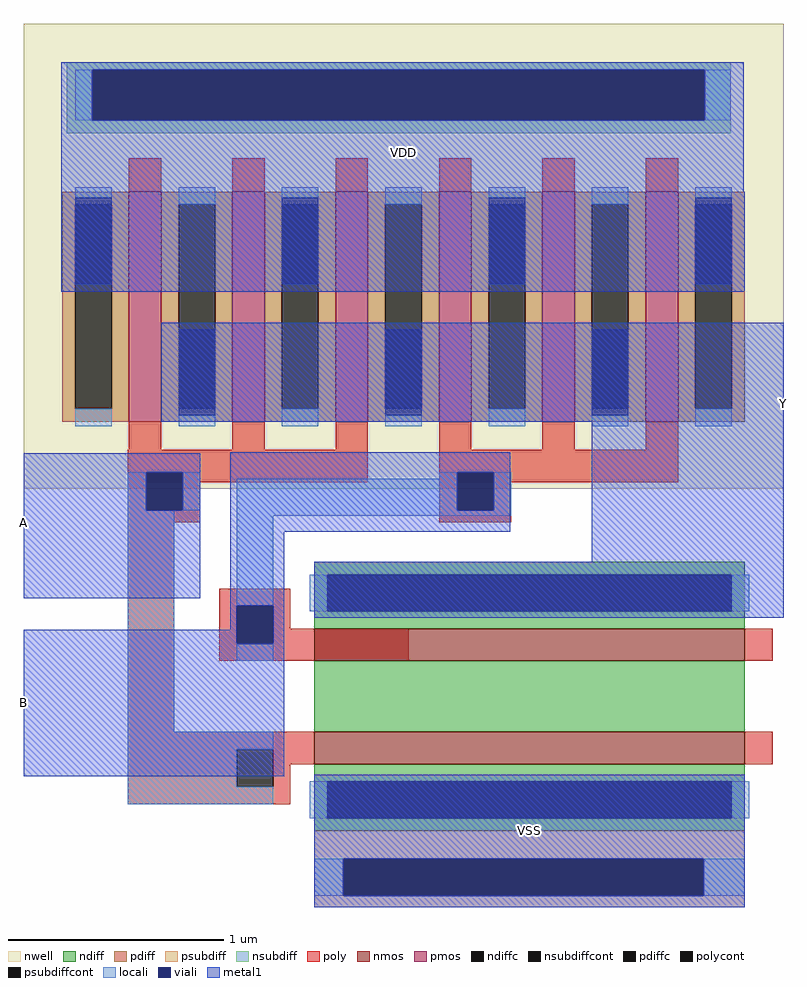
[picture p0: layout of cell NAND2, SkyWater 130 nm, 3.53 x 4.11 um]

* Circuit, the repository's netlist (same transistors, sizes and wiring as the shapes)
* SPICE3 file created from NAND2.ext - technology: sky130B

.subckt nmos_2shared_W200-L015-F1 a_63_n200# a_n63_n226# a_33_n226# a_n125_n200# VSUBS
X0 a_n33_n200# a_n63_n226# a_n125_n200# VSUBS sky130_fd_pr__nfet_01v8 ad=0.33 pd=2.33 as=0.62 ps=4.62 w=2 l=0.15
X1 a_63_n200# a_33_n226# a_n33_n200# VSUBS sky130_fd_pr__nfet_01v8 ad=0.62 pd=4.62 as=0.33 ps=2.33 w=2 l=0.15
.ends

.subckt pmos_p2-w321-L015-f3 a_n317_n107# w_n353_n143# a_n225_n107# a_33_n138# a_n255_n138#
+ VSUBS
X0 a_n225_n107# a_33_n138# a_n317_n107# w_n353_n143# sky130_fd_pr__pfet_01v8 ad=0.17655 pd=1.4 as=0.17655 ps=1.4 w=1.07 l=0.15
X1 a_n225_n107# a_n255_n138# a_n317_n107# w_n353_n143# sky130_fd_pr__pfet_01v8 ad=0.17655 pd=1.4 as=0.3317 ps=2.76 w=1.07 l=0.15
X2 a_n317_n107# a_33_n138# a_n225_n107# w_n353_n143# sky130_fd_pr__pfet_01v8 ad=0.17655 pd=1.4 as=0.17655 ps=1.4 w=1.07 l=0.15
X3 a_n317_n107# a_n255_n138# a_n225_n107# w_n353_n143# sky130_fd_pr__pfet_01v8 ad=0.17655 pd=1.4 as=0.17655 ps=1.4 w=1.07 l=0.15
X4 a_n225_n107# a_n255_n138# a_n317_n107# w_n353_n143# sky130_fd_pr__pfet_01v8 ad=0.17655 pd=1.4 as=0.17655 ps=1.4 w=1.07 l=0.15
X5 a_n317_n107# a_33_n138# a_n225_n107# w_n353_n143# sky130_fd_pr__pfet_01v8 ad=0.3317 pd=2.76 as=0.17655 ps=1.4 w=1.07 l=0.15
.ends

.subckt nand2 A B VSS Y
Xnmos_2shared_W200-L015-F1_0 VSS B A Y VSS nmos_2shared_W200-L015-F1
Xpmos_p2-w321-L015-f3_0 VDD VDD Y B A VSS pmos_p2-w321-L015-f3
.ends

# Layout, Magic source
magic
tech sky130B
magscale 1 2
<< nwell >>
rect 356 684 1062 804
<< ndiff >>
rect 994 146 996 148
rect 626 54 1026 60
<< psubdiff >>
rect 626 28 1026 54
rect 626 -6 653 28
rect 988 -6 1026 28
rect 626 -17 1026 -6
<< nsubdiff >>
rect 396 761 1013 768
rect 396 714 420 761
rect 989 714 1013 761
rect 396 702 1013 714
<< psubdiffcont >>
rect 653 -6 988 28
<< nsubdiffcont >>
rect 420 714 989 761
<< poly >>
rect 453 387 520 408
rect 453 352 470 387
rect 504 352 520 387
rect 453 341 520 352
rect 742 387 809 408
rect 742 352 759 387
rect 793 352 809 387
rect 742 341 809 352
rect 453 146 496 341
rect 538 263 604 279
rect 538 228 554 263
rect 588 242 604 263
rect 588 228 714 242
rect 538 212 714 228
rect 453 130 604 146
rect 453 95 554 130
rect 588 95 604 130
rect 453 79 604 95
<< polycont >>
rect 470 352 504 387
rect 759 352 793 387
rect 554 228 588 263
rect 554 95 588 130
<< locali >>
rect 404 714 420 761
rect 989 714 1013 761
rect 453 352 470 387
rect 504 352 520 387
rect 742 381 759 387
rect 554 352 759 381
rect 793 352 809 387
rect 453 146 496 352
rect 554 347 809 352
rect 554 263 588 347
rect 554 212 588 228
rect 453 130 588 146
rect 453 95 554 130
rect 453 79 588 95
rect 626 -6 653 28
rect 988 -6 1026 28
<< viali >>
rect 420 714 989 761
rect 470 352 504 387
rect 759 352 793 387
rect 554 228 588 263
rect 653 -6 988 28
<< metal1 >>
rect 391 761 1025 768
rect 391 714 420 761
rect 989 714 1025 761
rect 391 555 1025 714
rect 485 434 1062 526
rect 356 387 520 405
rect 356 352 470 387
rect 504 352 520 387
rect 356 270 520 352
rect 548 387 808 406
rect 548 352 759 387
rect 793 352 808 387
rect 548 332 808 352
rect 548 263 598 332
rect 884 304 1062 434
rect 548 241 554 263
rect 356 228 554 241
rect 588 228 598 263
rect 626 252 1062 304
rect 356 105 598 228
rect 626 28 1026 105
rect 626 -6 653 28
rect 988 -6 1026 28
rect 626 -17 1026 -6
use nmos_2shared_W200-L015-F1  nmos_2shared_W200-L015-F1_0
transform 0 1 826 -1 0 179
box -125 -226 125 226
use pmos_p2-w321-L015-f3  pmos_p2-w321-L015-f3_0
transform 1 0 709 0 -1 541
box -353 -143 353 169
<< labels >>
rlabel metal1 356 341 356 341 7 A
port 1 w
rlabel metal1 356 173 356 173 7 B
port 2 w
rlabel metal1 826 54 826 54 5 VSS
port 3 s
rlabel metal1 709 684 709 684 1 VDD
port 4 n
rlabel metal1 1062 451 1062 451 3 Y
port 5 e
<< end >>

# cell nmos_2shared_W200-L015-F1: kit device sky130_fd_pr__nfet_01v8, w 2 l 0.150 m 1 nf 2 diffcov 100 polycov 100 guard 0 glc 1 grc 1 gtc 1 gbc 1 tbcov 100 rlcov 100 topc 0 botc 0 poverlap 1 doverlap 1 lmin 0.15 wmin 0.42 compatible {sky130_fd_pr__nfet_01v8 sky130_fd_pr__nfet_01v8_lvt sky130_fd_bs_flash__special_sonosfet_star sky130_fd_pr__nfet_g5v0d10v5 sky130_fd_pr__nfet_05v0_nvt sky130_fd_pr__nfet_03v3_nvt} full_metal 1 viasrc 100 viadrn 100 viagate 100 viagb 0 viagr 0 viagl 0 viagt 0

# cell pmos_p2-w321-L015-f3: kit device sky130_fd_pr__pfet_01v8, w 1.07 l 0.15 m 1 nf 6 diffcov 100 polycov 100 guard 0 glc 1 grc 1 gtc 1 gbc 1 tbcov 100 rlcov 100 topc 0 botc 0 poverlap 0 doverlap 1 lmin 0.15 wmin 0.42 compatible {sky130_fd_pr__pfet_01v8 sky130_fd_pr__pfet_01v8_lvt sky130_fd_pr__pfet_01v8_hvt sky130_fd_pr__pfet_g5v0d10v5} full_metal 1 viasrc 100 viadrn 100 viagate 100 viagb 0 viagr 0 viagl 0 viagt 0
